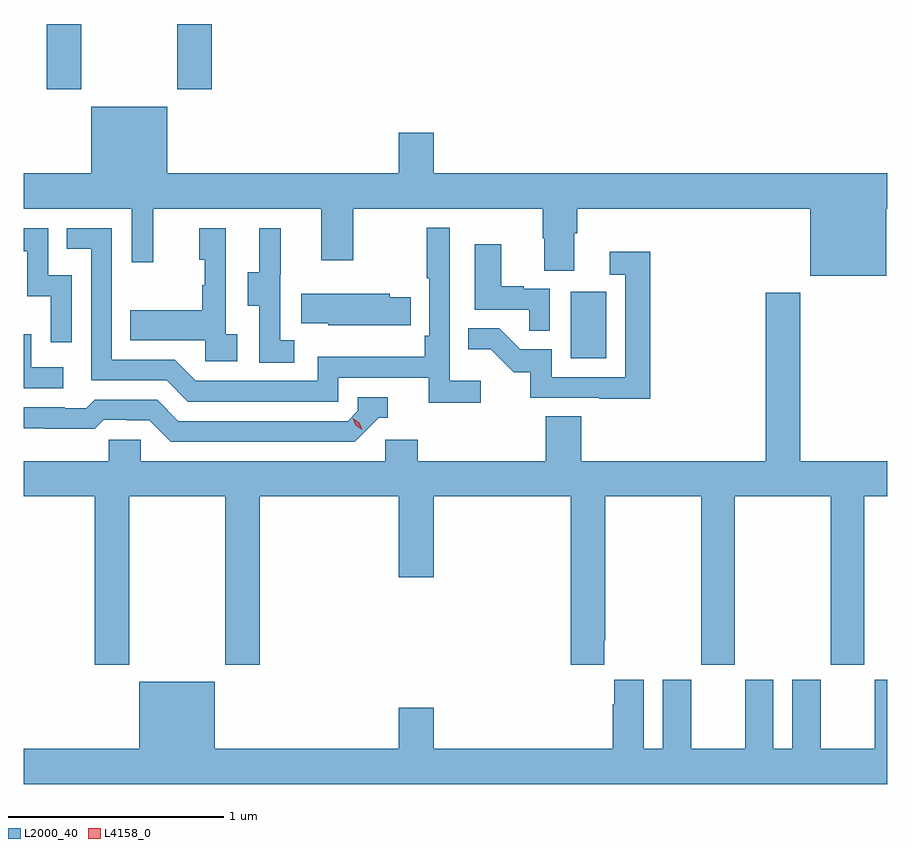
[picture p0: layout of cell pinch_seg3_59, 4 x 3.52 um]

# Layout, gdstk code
import gdstk
lib = gdstk.Library(unit=1e-6, precision=1e-09)
def R(c, l, rs):  # rectangles x0, y0, x1, y1
    for r in rs: c.add(gdstk.rectangle(r[:2], r[2:], *l))
def P(c, l, *ps):  # polygons
    for p in ps: c.add(gdstk.Polygon(p, *l))
L2000_40 = (2000, 40)
L4158_0 = (4158, 0)

pinch_seg3_59 = lib.new_cell('pinch_seg3_59')
R(pinch_seg3_59, L2000_40, [(1064.906,746.844,1065.07,747.151), (1062.479,748.089,1062.639,748.392), (1063.084,748.089,1063.244,748.392)])
P(pinch_seg3_59, L2000_40, [(1066.366,747.536),(1066.372,747.536),(1066.372,747.7),(1064.272,747.7),(1064.272,747.889),(1064.108,747.889),(1064.108,747.7),(1063.036,747.7),(1063.036,748.009),(1062.686,748.009),(1062.686,747.7),(1062.372,747.7),(1062.372,747.536),(1062.873,747.536),(1062.873,747.288),(1062.971,747.288),(1062.971,747.536),(1063.751,747.536),(1063.751,747.297),(1063.899,747.297),(1063.899,747.536),(1064.776,747.536),(1064.776,747.399),(1064.783,747.399),(1064.783,747.25),(1064.923,747.25),(1064.923,747.424),(1064.936,747.424),(1064.936,747.536),(1066.016,747.536),(1066.016,747.227),(1066.366,747.227)],
  [(1064.488,746.74),(1064.346,746.74),(1064.346,747.448),(1064.238,747.448),(1064.238,747.214),(1064.25,747.214),(1064.25,746.947),(1064.23,746.947),(1064.23,746.851),(1063.734,746.851),(1063.734,746.739),(1063.17,746.739),(1063.071,746.838),(1062.78,746.838),(1062.78,747.447),(1062.571,747.447),(1062.571,747.351),(1062.684,747.351),(1062.684,746.742),(1063.034,746.742),(1063.133,746.643),(1063.83,746.643),(1063.83,746.754),(1064.249,746.754),(1064.249,746.638),(1064.488,746.638)],
  [(1062.594,747.228),(1062.486,747.228),(1062.486,747.447),(1062.372,747.447),(1062.372,747.339),(1062.389,747.339),(1062.389,747.131),(1062.498,747.131),(1062.498,746.919),(1062.594,746.919)],
  [(1063.36,746.954),(1063.308,746.954),(1063.308,747.445),(1063.184,747.445),(1063.184,747.3),(1063.21,747.3),(1063.21,747.182),(1063.2,747.182),(1063.2,747.067),(1062.865,747.067),(1062.865,746.927),(1063.212,746.927),(1063.212,746.829),(1063.36,746.829)],
  [(1063.624,746.927),(1063.56,746.927),(1063.56,747.231),(1063.562,747.231),(1063.562,747.445),(1063.463,747.445),(1063.463,747.243),(1063.409,747.243),(1063.409,747.088),(1063.464,747.088),(1063.464,746.824),(1063.624,746.824)],
  [(1064.808,747.165),(1064.687,747.165),(1064.687,747.178),(1064.584,747.178),(1064.584,747.373),(1064.462,747.373),(1064.462,747.069),(1064.713,747.069),(1064.713,746.971),(1064.808,746.971)],
  [(1065.275,747.337),(1065.087,747.337),(1065.087,747.231),(1065.159,747.231),(1065.159,746.757),(1064.817,746.757),(1064.817,746.886),(1064.672,746.886),(1064.574,746.984),(1064.431,746.984),(1064.431,746.885),(1064.535,746.885),(1064.642,746.778),(1064.719,746.778),(1064.719,746.661),(1065.037,746.661),(1065.037,746.656),(1065.275,746.656)],
  [(1064.954,746.576),(1064.789,746.576),(1064.789,746.368),(1064.198,746.368),(1064.198,746.466),(1064.046,746.466),(1064.046,746.368),(1062.915,746.368),(1062.915,746.466),(1062.765,746.466),(1062.765,746.368),(1062.372,746.368),(1062.372,746.204),(1062.701,746.204),(1062.701,745.425),(1062.861,745.425),(1062.861,746.204),(1063.306,746.204),(1063.306,745.425),(1063.466,745.425),(1063.466,746.204),(1064.108,746.204),(1064.108,745.83),(1064.272,745.83),(1064.272,746.204),(1064.906,746.204),(1064.906,745.425),(1065.061,745.425),(1065.061,745.537),(1065.066,745.537),(1065.066,746.204),(1065.511,746.204),(1065.511,745.425),(1065.666,745.425),(1065.666,746.204),(1066.111,746.204),(1066.111,745.425),(1066.266,745.425),(1066.266,746.204),(1066.372,746.204),(1066.372,746.368),(1065.969,746.368),(1065.969,747.148),(1065.809,747.148),(1065.809,746.368),(1064.954,746.368)],
  [(1064.165,747.126),(1064.067,747.126),(1064.067,747.142),(1063.657,747.142),(1063.657,747.005),(1063.782,747.005),(1063.782,746.996),(1064.165,746.996)],
  [(1062.556,746.802),(1062.408,746.802),(1062.408,746.956),(1062.372,746.956),(1062.372,746.706),(1062.556,746.706)],
  [(1064.016,746.568),(1064.059,746.568),(1064.059,746.664),(1063.92,746.664),(1063.92,746.601),(1063.872,746.553),(1063.089,746.553),(1062.99,746.652),(1062.701,746.652),(1062.662,746.613),(1062.563,746.613),(1062.563,746.616),(1062.372,746.616),(1062.372,746.519),(1062.468,746.519),(1062.468,746.517),(1062.701,746.517),(1062.743,746.559),(1062.846,746.559),(1062.846,746.556),(1062.953,746.556),(1063.052,746.457),(1063.905,746.457)],
  [(1066.372,745.354),(1066.313,745.354),(1066.313,745.036),(1066.063,745.036),(1066.063,745.354),(1065.932,745.354),(1065.932,745.036),(1065.844,745.036),(1065.844,745.354),(1065.713,745.354),(1065.713,745.036),(1065.463,745.036),(1065.463,745.354),(1065.332,745.354),(1065.332,745.036),(1065.244,745.036),(1065.244,745.354),(1065.107,745.354),(1065.107,745.241),(1065.101,745.241),(1065.101,745.036),(1064.272,745.036),(1064.272,745.225),(1064.108,745.225),(1064.108,745.036),(1063.258,745.036),(1063.258,745.345),(1062.908,745.345),(1062.908,745.036),(1062.372,745.036),(1062.372,744.872),(1066.372,744.872)])
P(pinch_seg3_59, L4158_0, [(1063.941,746.513),(1063.911,746.533),(1063.895,746.566),(1063.895,746.566),(1063.896,746.566),(1063.926,746.546),(1063.941,746.513),(1063.941,746.513)])

lib.write_gds('pinch_seg3_59.gds')
